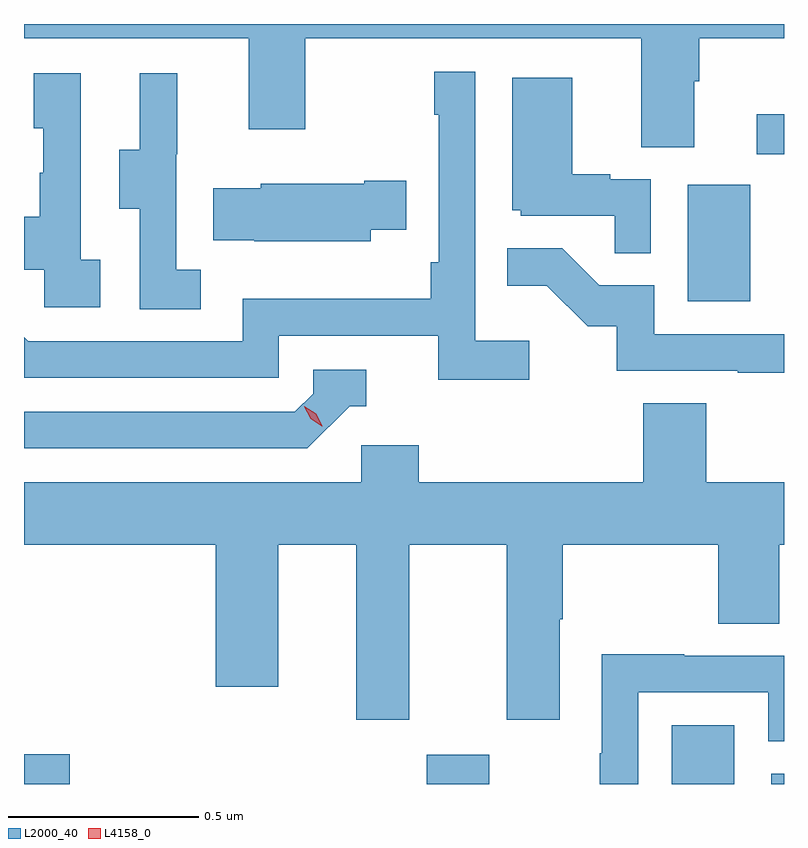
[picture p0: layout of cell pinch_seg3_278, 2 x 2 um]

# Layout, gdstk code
import gdstk
lib = gdstk.Library(unit=1e-6, precision=1e-09)
def R(c, l, rs):  # rectangles x0, y0, x1, y1
    for r in rs: c.add(gdstk.rectangle(r[:2], r[2:], *l))
def P(c, l, *ps):  # polygons
    for p in ps: c.add(gdstk.Polygon(p, *l))
L2000_40 = (2000, 40)
L4158_0 = (4158, 0)

pinch_seg3_278 = lib.new_cell('pinch_seg3_278')
R(pinch_seg3_278, L2000_40, [(895.771,708.278,895.891,708.356), (896.831,708.278,896.995,708.355), (897.476,708.278,897.64,708.433), (897.738,708.278,897.771,708.305), (897.518,709.548,897.682,709.855), (897.699,709.935,897.771,710.041)])
P(pinch_seg3_278, L2000_40, [(895.771,710.24),(896.363,710.24),(896.363,710.001),(896.511,710.001),(896.511,710.24),(897.395,710.24),(897.395,709.954),(897.535,709.954),(897.535,710.128),(897.548,710.128),(897.548,710.24),(897.771,710.24),(897.771,710.278),(895.771,710.278)],
  [(897.1,709.444),(896.958,709.444),(896.958,710.152),(896.85,710.152),(896.85,710.039),(896.862,710.039),(896.862,709.651),(896.842,709.651),(896.842,709.555),(896.346,709.555),(896.346,709.443),(895.782,709.443),(895.771,709.454),(895.771,709.347),(896.442,709.347),(896.442,709.458),(896.861,709.458),(896.861,709.342),(897.1,709.342)],
  [(895.972,709.658),(895.92,709.658),(895.92,710.149),(895.796,710.149),(895.796,710.004),(895.822,710.004),(895.822,709.886),(895.812,709.886),(895.812,709.771),(895.771,709.771),(895.771,709.631),(895.824,709.631),(895.824,709.533),(895.972,709.533)],
  [(896.236,709.631),(896.172,709.631),(896.172,709.935),(896.174,709.935),(896.174,710.149),(896.075,710.149),(896.075,709.947),(896.021,709.947),(896.021,709.792),(896.076,709.792),(896.076,709.528),(896.236,709.528)],
  [(897.42,709.869),(897.314,709.869),(897.314,709.882),(897.214,709.882),(897.214,710.137),(897.056,710.137),(897.056,709.788),(897.078,709.788),(897.078,709.773),(897.325,709.773),(897.325,709.675),(897.42,709.675)],
  [(896.683,709.736),(896.777,709.736),(896.777,709.866),(896.666,709.866),(896.666,709.858),(896.394,709.858),(896.394,709.846),(896.269,709.846),(896.269,709.709),(896.377,709.709),(896.377,709.706),(896.683,709.706)],
  [(897.771,709.461),(897.429,709.461),(897.429,709.59),(897.285,709.59),(897.187,709.688),(897.043,709.688),(897.043,709.589),(897.147,709.589),(897.254,709.482),(897.331,709.482),(897.331,709.365),(897.649,709.365),(897.649,709.36),(897.771,709.36)],
  [(896.628,709.272),(896.671,709.272),(896.671,709.368),(896.532,709.368),(896.532,709.305),(896.484,709.257),(895.771,709.257),(895.771,709.161),(896.517,709.161)],
  [(896.81,709.17),(896.658,709.17),(896.658,709.072),(895.771,709.072),(895.771,708.908),(896.276,708.908),(896.276,708.534),(896.44,708.534),(896.44,708.908),(896.645,708.908),(896.645,708.447),(896.785,708.447),(896.785,708.908),(897.041,708.908),(897.041,708.447),(897.181,708.447),(897.181,708.712),(897.189,708.712),(897.189,708.908),(897.598,708.908),(897.598,708.7),(897.758,708.7),(897.758,708.908),(897.771,708.908),(897.771,709.072),(897.566,709.072),(897.566,709.28),(897.401,709.28),(897.401,709.072),(896.81,709.072)],
  [(897.387,708.519),(897.729,708.519),(897.729,708.39),(897.771,708.39),(897.771,708.615),(897.509,708.615),(897.509,708.62),(897.291,708.62),(897.291,708.359),(897.286,708.359),(897.286,708.278),(897.387,708.278)])
P(pinch_seg3_278, L4158_0, [(896.555,709.22),(896.525,709.239),(896.509,709.271),(896.509,709.272),(896.509,709.272),(896.54,709.252),(896.556,709.22),(896.556,709.22)])

lib.write_gds('pinch_seg3_278.gds')
